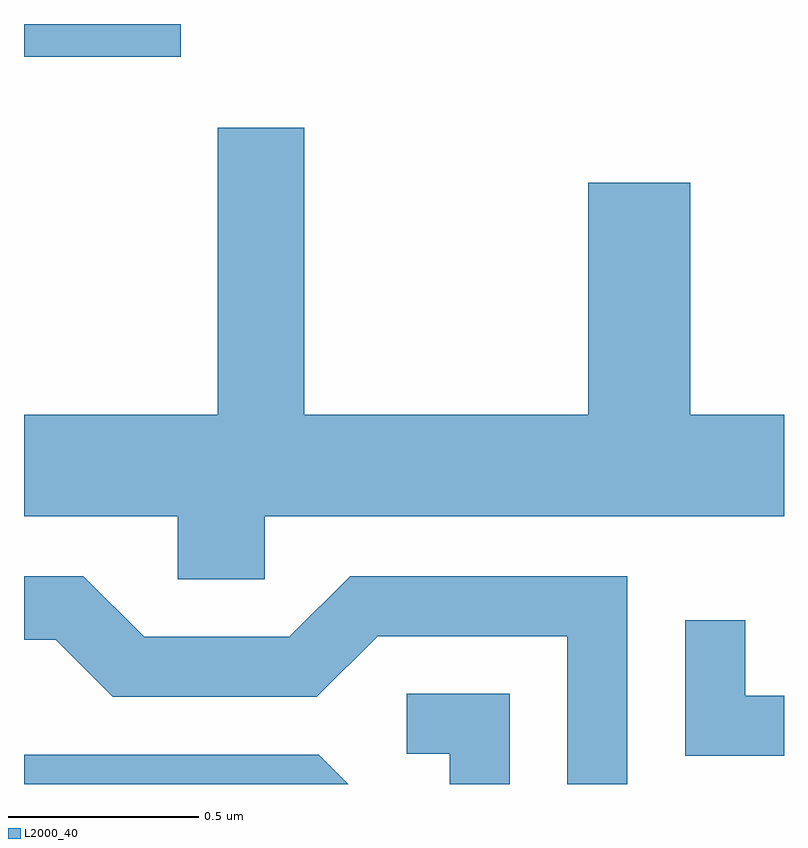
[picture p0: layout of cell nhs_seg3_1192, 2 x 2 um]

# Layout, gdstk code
import gdstk
lib = gdstk.Library(unit=1e-6, precision=1e-09)
def R(c, l, rs):  # rectangles x0, y0, x1, y1
    for r in rs: c.add(gdstk.rectangle(r[:2], r[2:], *l))
def P(c, l, *ps):  # polygons
    for p in ps: c.add(gdstk.Polygon(p, *l))
L2000_40 = (2000, 40)

nhs_seg3_1192 = lib.new_cell('nhs_seg3_1192')
R(nhs_seg3_1192, L2000_40, [(193.611,1213.806,194.024,1213.892)])
P(nhs_seg3_1192, L2000_40, [(194.244,1212.596),(195.611,1212.596),(195.611,1212.864),(195.364,1212.864),(195.364,1213.474),(195.096,1213.474),(195.096,1212.864),(194.349,1212.864),(194.349,1213.619),(194.121,1213.619),(194.121,1212.864),(193.611,1212.864),(193.611,1212.596),(194.016,1212.596),(194.016,1212.431),(194.244,1212.431)],
  [(195.199,1212.439),(194.469,1212.439),(194.309,1212.279),(193.927,1212.279),(193.767,1212.439),(193.611,1212.439),(193.611,1212.271),(193.694,1212.271),(193.844,1212.121),(194.382,1212.121),(194.542,1212.281),(195.041,1212.281),(195.041,1211.892),(195.199,1211.892)],
  [(195.611,1212.124),(195.509,1212.124),(195.509,1212.323),(195.351,1212.323),(195.351,1211.966),(195.611,1211.966)],
  [(194.889,1212.129),(194.618,1212.129),(194.618,1211.971),(194.731,1211.971),(194.731,1211.892),(194.889,1211.892)],
  [(194.387,1211.969),(193.611,1211.969),(193.611,1211.892),(194.464,1211.892)])

lib.write_gds('nhs_seg3_1192.gds')
